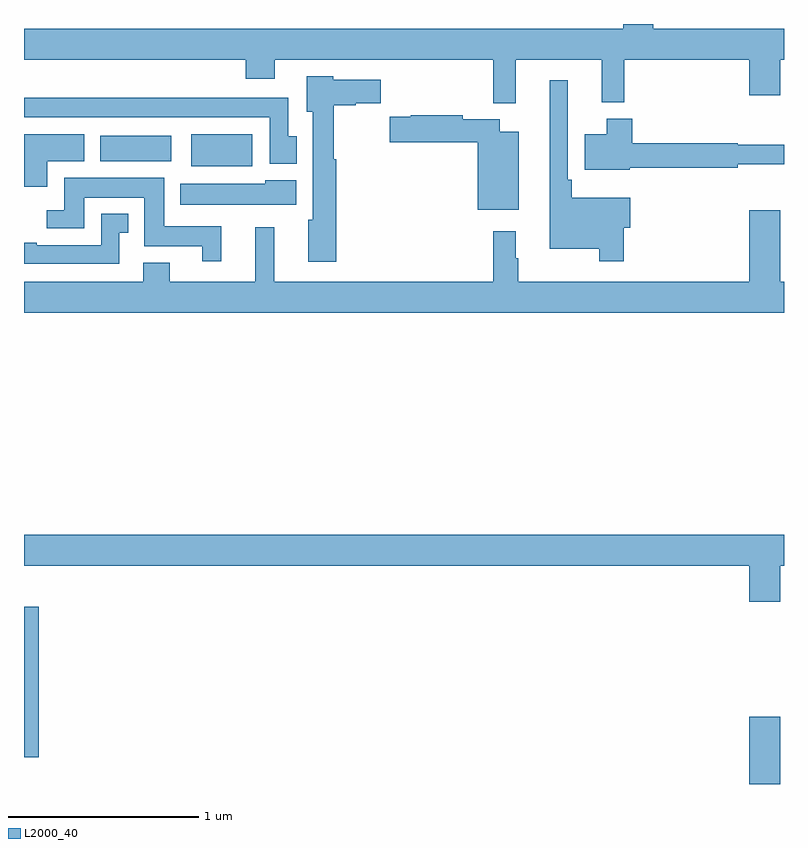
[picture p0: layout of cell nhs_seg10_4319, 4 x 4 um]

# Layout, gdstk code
import gdstk
lib = gdstk.Library(unit=1e-6, precision=1e-09)
def R(c, l, rs):  # rectangles x0, y0, x1, y1
    for r in rs: c.add(gdstk.rectangle(r[:2], r[2:], *l))
def P(c, l, *ps):  # polygons
    for p in ps: c.add(gdstk.Polygon(p, *l))
L2000_40 = (2000, 40)

nhs_seg10_4319 = lib.new_cell('nhs_seg10_4319')
R(nhs_seg10_4319, L2000_40, [(356.816,1300.5,356.98,1300.855), (353,1300.641,353.077,1301.432), (353.879,1303.751,354.202,1303.921), (353.402,1303.778,353.776,1303.912)])
P(nhs_seg10_4319, L2000_40, [(355.589,1304.312),(356.042,1304.312),(356.042,1304.087),(356.159,1304.087),(356.159,1304.312),(356.816,1304.312),(356.816,1304.124),(356.98,1304.124),(356.98,1304.312),(357,1304.312),(357,1304.476),(356.313,1304.476),(356.313,1304.5),(356.153,1304.5),(356.153,1304.476),(353,1304.476),(353,1304.312),(354.167,1304.312),(354.167,1304.213),(354.319,1304.213),(354.319,1304.312),(355.471,1304.312),(355.471,1304.084),(355.589,1304.084)],
  [(354.644,1303.788),(354.631,1303.788),(354.631,1304.072),(354.746,1304.072),(354.746,1304.082),(354.877,1304.082),(354.877,1304.206),(354.627,1304.206),(354.627,1304.224),(354.488,1304.224),(354.488,1304.037),(354.521,1304.037),(354.521,1303.47),(354.497,1303.47),(354.497,1303.248),(354.644,1303.248)],
  [(356.156,1303.427),(356.191,1303.427),(356.191,1303.585),(355.883,1303.585),(355.883,1303.681),(355.863,1303.681),(355.863,1304.203),(355.766,1304.203),(355.766,1303.316),(356.028,1303.316),(356.028,1303.251),(356.156,1303.251)],
  [(354.436,1303.908),(354.391,1303.908),(354.391,1304.113),(353,1304.113),(353,1304.009),(354.294,1304.009),(354.294,1303.764),(354.436,1303.764)],
  [(355.603,1303.933),(355.504,1303.933),(355.504,1303.999),(355.308,1303.999),(355.308,1304.019),(355.036,1304.019),(355.036,1304.011),(354.924,1304.011),(354.924,1303.877),(355.388,1303.877),(355.388,1303.523),(355.603,1303.523)],
  [(356.188,1303.744),(356.756,1303.744),(356.756,1303.762),(357,1303.762),(357,1303.865),(356.756,1303.865),(356.756,1303.873),(356.201,1303.873),(356.201,1304.002),(356.066,1304.002),(356.066,1303.921),(355.952,1303.921),(355.952,1303.733),(356.188,1303.733)],
  [(353.122,1303.778),(353.317,1303.778),(353.317,1303.921),(353,1303.921),(353,1303.644),(353.122,1303.644)],
  [(354.038,1303.435),(353.737,1303.435),(353.737,1303.69),(353.213,1303.69),(353.213,1303.521),(353.121,1303.521),(353.121,1303.425),(353.317,1303.425),(353.317,1303.586),(353.633,1303.586),(353.633,1303.331),(353.939,1303.331),(353.939,1303.251),(354.038,1303.251)],
  [(354.433,1303.678),(354.27,1303.678),(354.27,1303.66),(353.822,1303.66),(353.822,1303.55),(354.433,1303.55)],
  [(357,1303.144),(356.98,1303.144),(356.98,1303.519),(356.816,1303.519),(356.816,1303.144),(355.6,1303.144),(355.6,1303.268),(355.588,1303.268),(355.588,1303.408),(355.471,1303.408),(355.471,1303.144),(354.317,1303.144),(354.317,1303.429),(354.218,1303.429),(354.218,1303.144),(353.767,1303.144),(353.767,1303.243),(353.627,1303.243),(353.627,1303.144),(353,1303.144),(353,1302.98),(357,1302.98)],
  [(353.502,1303.401),(353.548,1303.401),(353.548,1303.501),(353.406,1303.501),(353.406,1303.335),(353.068,1303.335),(353.068,1303.348),(353,1303.348),(353,1303.239),(353.502,1303.239)],
  [(356.98,1301.648),(357,1301.648),(357,1301.812),(353,1301.812),(353,1301.648),(356.816,1301.648),(356.816,1301.46),(356.98,1301.46)])

lib.write_gds('nhs_seg10_4319.gds')
